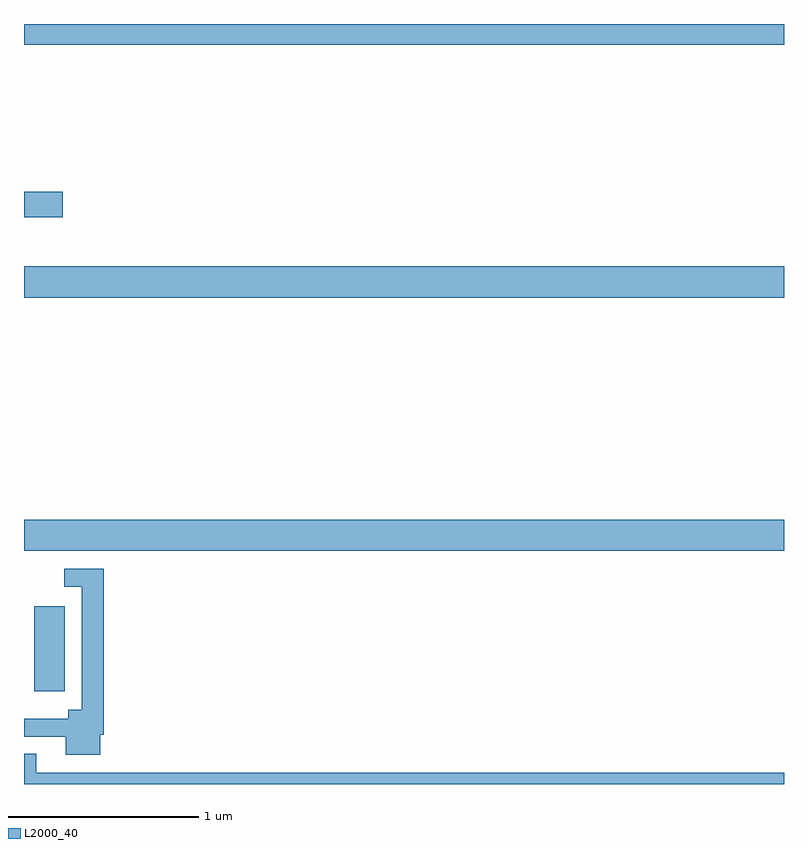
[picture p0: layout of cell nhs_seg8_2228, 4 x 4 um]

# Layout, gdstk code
import gdstk
lib = gdstk.Library(unit=1e-6, precision=1e-09)
def R(c, l, rs):  # rectangles x0, y0, x1, y1
    for r in rs: c.add(gdstk.rectangle(r[:2], r[2:], *l))
def P(c, l, *ps):  # polygons
    for p in ps: c.add(gdstk.Polygon(p, *l))
L2000_40 = (2000, 40)

nhs_seg8_2228 = lib.new_cell('nhs_seg8_2228')
R(nhs_seg8_2228, L2000_40, [(251.054,1154.388,251.215,1154.836), (251,1155.128,255,1155.292), (251,1156.46,255,1156.624), (251,1156.883,251.203,1157.018), (251,1157.792,255,1157.9)])
P(nhs_seg8_2228, L2000_40, [(251.401,1154.158),(251.42,1154.158),(251.42,1155.033),(251.211,1155.033),(251.211,1154.937),(251.304,1154.937),(251.304,1154.29),(251.234,1154.29),(251.234,1154.244),(251,1154.244),(251,1154.148),(251.219,1154.148),(251.219,1154.054),(251.401,1154.054)],
  [(255,1153.96),(251.065,1153.96),(251.065,1154.059),(251,1154.059),(251,1153.9),(255,1153.9)])

lib.write_gds('nhs_seg8_2228.gds')
